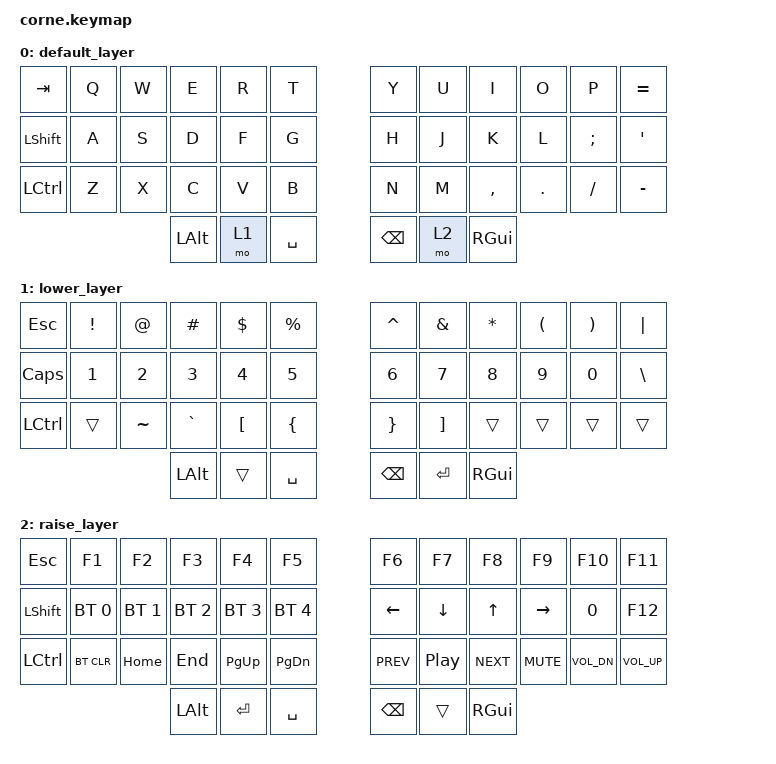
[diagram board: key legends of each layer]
/*
 * Copyright (c) 2020 The ZMK Contributors
 *
 * SPDX-License-Identifier: MIT
 */

#include <behaviors.dtsi>
#include <dt-bindings/zmk/keys.h>
#include <dt-bindings/zmk/bt.h>
//#include <dt-bindings/zmk/mouse.h>

/ {
        keymap {
                compatible = "zmk,keymap";

                default_layer {
// -----------------------------------------------------------------------------------------
// |  TAB |  Q  |  W  |  E  |  R  |  T  |   |  Y  |  U   |  I  |  O   |  P   | =/+  |
// | SHFT |  A  |  S  |  D  |  F  |  G  |   |  H  |  J   |  K  |  L   |  ;/: | '/"  |
// | CTRL |  Z  |  X  |  C  |  V  |  B  |   |  N  |  M   | ,/< |  ./> |  /?  | -/_  |
//                    | ALT | LWR | SPACE | | BSPC| RSE | CMD |
                        bindings = <
   &kp TAB   &kp Q &kp W &kp E &kp R &kp T      &kp Y &kp U  &kp I &kp O &kp P    &kp EQUAL
   &kp LSHFT &kp A &kp S &kp D &kp F &kp G      &kp H &kp J  &kp K &kp L &kp SEMI &kp SQT
   &kp LCTRL &kp Z &kp X &kp C &kp V &kp B      &kp N &kp M  &kp COMMA &kp DOT &kp FSLH &kp MINUS
                &kp LALT &mo 1 &kp SPACE        &kp BSPC &mo 2 &kp RGUI
                        >;
                };
                lower_layer {
// -----------------------------------------------------------------------------------------
// |  ESC |  !  |  @  |  #  |  $  |  %  |   |  ^  |  &  |  *  |  (  |  )  |  |  |
// | CAPS |  1  |  2  |  3  |  4  |  5  |   |  6  |  7  |  8  |  9  |  0  |  \  |
// | LCTRL|     |  ~  |  `  |  [  |  {  |   |  }  |  ]  |     |     |     |     |
//                    | ALT |     | SPACE | | BSPC| ENT | CMD |
                        bindings = <
   &kp ESC   &kp EXCL &kp AT    &kp HASH &kp DLLR &kp PRCNT    &kp CARET &kp AMPS &kp STAR &kp LPAR &kp RPAR &kp PIPE
   &kp CAPS  &kp N1   &kp N2    &kp N3   &kp N4   &kp N5       &kp N6 &kp N7      &kp N8  &kp N9 &kp N0 &kp BSLH
   &kp LCTRL &trans   &kp TILDE &kp GRAVE &kp LBKT &kp LBRC    &kp RBRC &kp RBKT &trans &trans  &trans &trans
                        &kp LALT &trans &kp SPACE        &kp BSPC &kp RET &kp RGUI
                        >;
                };

                raise_layer {
// -----------------------------------------------------------------------------------------
// |  ESC |  F1 |  F2  |  F3  |  F4  |  F5  |      | F6   |  F7   |  F8  | F9   | F10 |  F11 |
// | SHFT | BT1 | BT2  | BT3  | BT4  | BT5cc|      | left | down  |  up  | right|     |  F12 |
// | LCTRL|BTCLR| HOME |  END | PGUP | PGDN |      | PREV | PlayP | SKIP | mute | inc | dec  |
//                    | ALT | ENT | SPACE |         | BSPC |   | CMD |
                        bindings = <
   &kp ESC   &kp F1   &kp F2 &kp F3   &kp F4  &kp F5            &kp F6     &kp F7    &kp F8  &kp F9 &kp F10 &kp F11
   &kp LSHFT &bt BT_SEL 0 &bt BT_SEL 1 &bt BT_SEL 2 &bt BT_SEL 3 &bt BT_SEL 4 &kp LEFT   &kp DOWN  &kp UP  &kp RIGHT &kp N0 &kp F12
   &kp LCTRL &bt BT_CLR  &kp HOME &kp END &kp PG_UP &kp PG_DN       &kp C_PREV &kp C_PP  &kp C_NEXT &kp C_MUTE  &kp C_VOL_DN &kp C_VOL_UP
                        &kp LALT &kp RET &kp SPACE        &kp BSPC &trans &kp RGUI
                        >;
                };
        };
};
